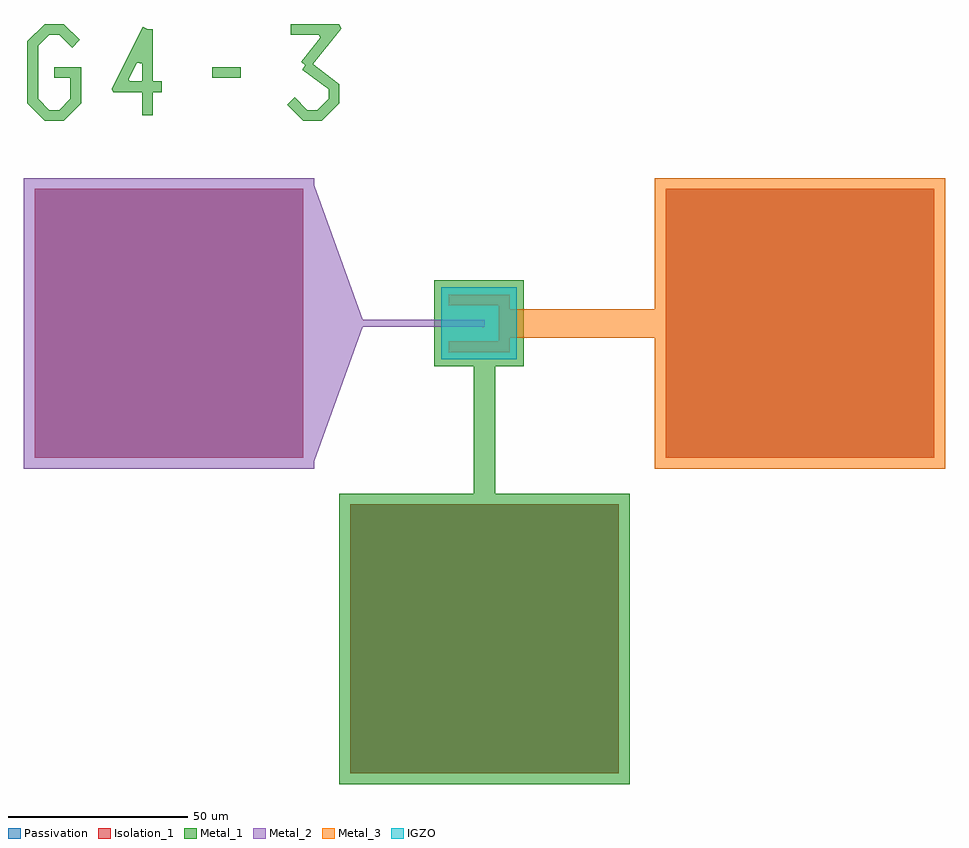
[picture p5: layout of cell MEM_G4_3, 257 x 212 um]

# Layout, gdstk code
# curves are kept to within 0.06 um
import gdstk
lib = gdstk.Library(unit=1e-6, precision=1e-09)
def R(c, l, rs):  # rectangles x0, y0, x1, y1
    for r in rs: c.add(gdstk.rectangle(r[:2], r[2:], *l))
def P(c, l, *ps):  # polygons
    for p in ps: c.add(gdstk.Polygon(p, *l))
Metal_1 = (1, 0)
Isolation_1 = (2, 0)
Metal_2 = (3, 0)
IGZO = (4, 0)
Metal_3 = (5, 0)
Passivation = (6, 0)

mem_g4_3 = lib.new_cell('MEM_G4_3')
R(mem_g4_3, Metal_1, [(87.5,-0.5,168.5,80.5), (52,196.5,60,199.5)])
P(mem_g4_3, Metal_1, [(5.378,184.5),(0.5,189.378),(0.5,206.622),(5.378,211.5),(10.622,211.5),(15.061,207.061),(12.939,204.939),(9.378,208.5),(6.622,208.5),(3.5,205.378),(3.5,190.622),(6.622,187.5),(9.378,187.5),(12.5,190.622),(12.5,196.5),(8,196.5),(8,199.5),(15.5,199.5),(15.5,189.378),(10.622,184.5)],
  [(77.378,184.5),(72.939,188.939),(75.061,191.061),(78.622,187.5),(81.378,187.5),(84.5,190.622),(84.5,193.25),(77.1,198.8),(77.999,200),(76.83,200.937),(82.204,207.656),(81.798,208.5),(74,208.5),(74,211.5),(87.5,211.5),(88.108,210.234),(80.158,200.297),(87.5,194.75),(87.5,189.378),(82.622,184.5)],
  [(32.5,186),(32.5,192.5),(24.5,192.5),(23.987,193.33),(27.698,200.752),(31.053,200.752),(28.703,196.053),(29.045,195.5),(32.5,195.5),(32.5,200.41),(31.053,200.752),(27.698,200.752),(32.658,210.671),(33.999,210),(35.5,210),(35.5,195.5),(38,195.5),(38,192.5),(35.5,192.5),(35.5,186)],
  [(88,0),(88,80),(125,80),(125,116),(114,116),(114,140),(139,140),(139,116),(131,116),(131,80),(168,80),(168,0)])
R(mem_g4_3, Isolation_1, [(90.5,2.5,165.5,77.5), (2.5,90.5,77.5,165.5), (178.5,90.5,253.5,165.5)])
R(mem_g4_3, Metal_2, [(-0.5,87.5,80.5,168.5), (0,88,80,168)])
P(mem_g4_3, Metal_2, [(80,88),(80,168),(94,129),(128,129),(128,127),(94,127)])
R(mem_g4_3, IGZO, [(116,118,137,138)])
R(mem_g4_3, Metal_3, [(175.5,87.5,256.5,168.5)])
P(mem_g4_3, Metal_3, [(176,88),(176,124),(135,124),(135,120),(118,120),(118,123),(132,123),(132,133),(118,133),(118,136),(135,136),(135,132),(176,132),(176,168),(256,168),(256,88)])
R(mem_g4_3, Passivation, [(90.5,2.5,165.5,77.5), (2.5,90.5,77.5,165.5), (178.5,90.5,253.5,165.5)])

lib.write_gds('MEM_G4_3.gds')
